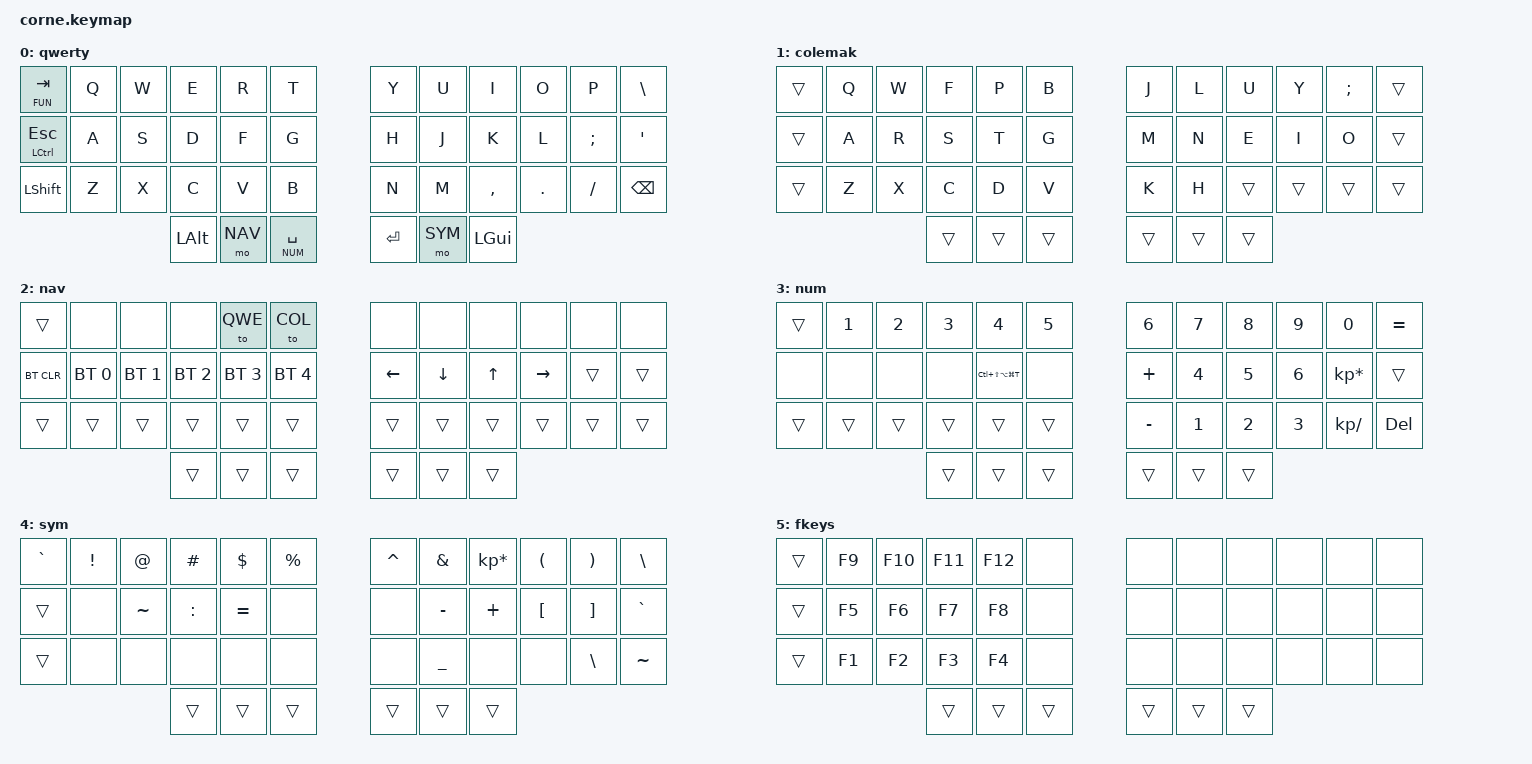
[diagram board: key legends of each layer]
/*
 * Copyright (c) 2020 The ZMK Contributors
 *
 * SPDX-License-Identifier: MIT
 */

#include <behaviors.dtsi>
#include <dt-bindings/zmk/keys.h>
#include <dt-bindings/zmk/bt.h>

#define QWE 0
#define COL 1
#define NAV 2
#define NUM 3
#define SYM 4
#define FUN 5

/ {
    combos {
        compatible = "zmk,combos";

        combo_oe {
            timeout-ms = <50>;
            key-positions = <2 3>;
            bindings = <&kp RA(P)>;
            layers = <QWE COL>;
        };

        combo_aa {
            timeout-ms = <50>;
            key-positions = <9 8>;
            bindings = <&kp RA(W)>;
            layers = <QWE COL>;
        };

        combo_ae {
            timeout-ms = <100>;
            key-positions = <9 8 19>;
            bindings = <&kp RA(Q)>;
            layers = <QWE COL>;
        };
    };
};

/ {
        keymap {
                compatible = "zmk,keymap";
                qwerty {
// .---------------------------------------.               .------------------------------------.
// |TAB/FKEYS|  Q  |  W  |  E  |  R  |  T  |               |  Y  |  U  |  I  |  O  |  P  |  \   |
// |ESC/CTRL |  A  |  S  |  D  |  F  |  G  |               |  H  |  J  |  K  |  L  |  ;  |  '   |
// | SHIFT   |  Z  |  X  |  C  |  V  |  B  |               |  N  |  M  |  ,  |  .  |  /  | BKSP |
//                       | ALT | NAV |SPC/NUM|       |  ENT  | SYM | GUI |
                        bindings = <
   &lt FUN TAB   &kp Q &kp W &kp E &kp R &kp T              &kp Y &kp U &kp I &kp O   &kp P    &kp BSLH
   &mt LCTRL ESC &kp A &kp S &kp D &kp F &kp G              &kp H &kp J &kp K &kp L   &kp SEMI &kp SQT
   &kp LSHFT     &kp Z &kp X &kp C &kp V &kp B              &kp N &kp M &kp COMMA &kp DOT &kp FSLH &kp BSPC
                   &kp LALT &mo NAV &lt NUM SPACE    &kp RET &mo SYM &kp LGUI
                        >;
                };



                colemak {
// .---------------------------------------.               .------------------------------------.
// |TAB/FKEYS|  Q  |  W  |  F  |  P  |  B  |               |  J  |  L  |  U  |  Y  |  ;  |  \   |
// |ESC/CTRL |  A  |  R  |  S  |  T  |  G  |               |  M  |  N  |  E  |  I  |  O  |  '   |
// | SHIFT   |  Z  |  X  |  C  |  D  |  V  |               |  K  |  H  |  ,  |  .  |  /  | BKSP |
//                         | ALT | NAV |SPC/NUM|       |  ENT  | SYM | GUI |
                        bindings = <
   &trans &kp Q &kp W &kp F &kp P &kp B                   &kp J &kp L &kp U  &kp Y  &kp SEMI &trans
   &trans &kp A &kp R &kp S &kp T &kp G                   &kp M &kp N &kp E  &kp I  &kp O    &trans
   &trans &kp Z &kp X &kp C &kp D &kp V                   &kp K &kp H &trans &trans &trans   &trans
                   &trans &trans &trans                   &trans &trans &trans
                        >;
                };



                nav {
// .------------------------------------.             .------------------------------------.
// |  ESC |     |     |     | QWE | COL |             |     |     |     |     |     |      |
// | BTCLR| BT1 | BT2 | BT3 | BT4 | BT5 |             | LFT | DWN |  UP | RGT |     |      |
// | SHFT |     |     |     |     |     |             |     |     |     |     |     |      |
//                       | ALT | NAV |SPC/NUM|       |  ENT  | SYM | GUI |
                        bindings = <
   &trans     &none        &none        &none        &to QWE      &to COL          &none    &none    &none  &none     &none  &none
   &bt BT_CLR &bt BT_SEL 0 &bt BT_SEL 1 &bt BT_SEL 2 &bt BT_SEL 3 &bt BT_SEL 4     &kp LEFT &kp DOWN &kp UP &kp RIGHT &trans &trans
   &trans     &trans       &trans       &trans       &trans       &trans           &trans   &trans   &trans &trans    &trans &trans
                                        &trans       &trans       &trans           &trans   &trans   &trans
                        >;
                };



                num {
// .------------------------------------.             .------------------------------------.
// |      |  1  |  2  |  3  |  4  |  5  |             |  6  |  7  |  8  |  9  |  0  |   =  |
// |      |     |     |     | term|     |             |  +  |  4  |  5  |  6  |  *  |      |
// |      |     |     |     |     |     |             |  -  |  1  |  2  |  3  |  /  |  DEL |
//                       | ALT | NAV |SPC/NUM|     |  ENT  | SYM | GUI |
                        bindings = <
   &trans &kp N1 &kp N2 &kp N3 &kp N4                &kp N5            &kp N6    &kp N7 &kp N8 &kp N9 &kp N0          &kp EQUAL
   &none  &none  &none  &none  &kp LC(LS(LA(LG(T)))) &none             &kp PLUS  &kp N4 &kp N5 &kp N6 &kp KP_MULTIPLY &trans
   &trans &trans &trans &trans &trans                &trans            &kp MINUS &kp N1 &kp N2 &kp N3 &kp KP_DIVIDE   &kp DELETE
                        &trans &trans                &trans            &trans    &trans &trans
                        >;
                };



                sym {
// .------------------------------------.             .------------------------------------.
// |   `  |  !  |  @  |  #  |  $  |  %  |             |  ^  |  &  |  *  |  (  |  )  |   \  |
// |      |     |  ~  |  :  |  =  |     |             |     |  -  |  +  |  [  |  ]  |      |
// |      |     |     |     |     |     |             |     |  _  |     |     |     |      |
//                    | ALT | NAV | SPC/NUM |     |   ENT   | SYM | GUI |
                        bindings = <
   &kp GRAVE &kp EXCL &kp AT    &kp HASH  &kp DLLR  &kp PRCNT      &kp CARET &kp AMPS  &kp KP_MULTIPLY &kp LPAR &kp RPAR &kp BSLH
   &trans    &none    &kp TILDE &kp COLON &kp EQUAL &none          &none     &kp MINUS &kp PLUS        &kp LBKT &kp RBKT &kp GRAVE
   &trans    &none    &none     &none     &none     &none          &none     &kp UNDER &none           &none    &kp BSLH &kp TILDE
                                &trans    &trans    &trans         &trans    &trans    &trans
                        >;
                };



                fkeys {
// .------------------------------------.             .------------------------------------.
// |      |  F9 | F10 | F11 | F12 |     |             |     |     |     |     |     |      |
// |      |  F5 | F6  | F7  | F8  |     |             |     |     |     |     |     |      |
// |      |  F1 | F2  | F3  | F4  |     |             |     |     |     |     |     |      |
//                    | ALT | NAV | SPC/NUM |     |   ENT   | SYM | GUI |
                        bindings = <
   &trans &kp F9 &kp F10 &kp F11 &kp F12 &none       &none &none &none &none &none &none
   &trans &kp F5 &kp F6  &kp F7  &kp F8  &none       &none &none &none &none &none &none
   &trans &kp F1 &kp F2  &kp F3  &kp F4  &none       &none &none &none &none &none &none
                         &trans  &trans &trans       &trans &trans &trans
                        >;
                };
        };
};
